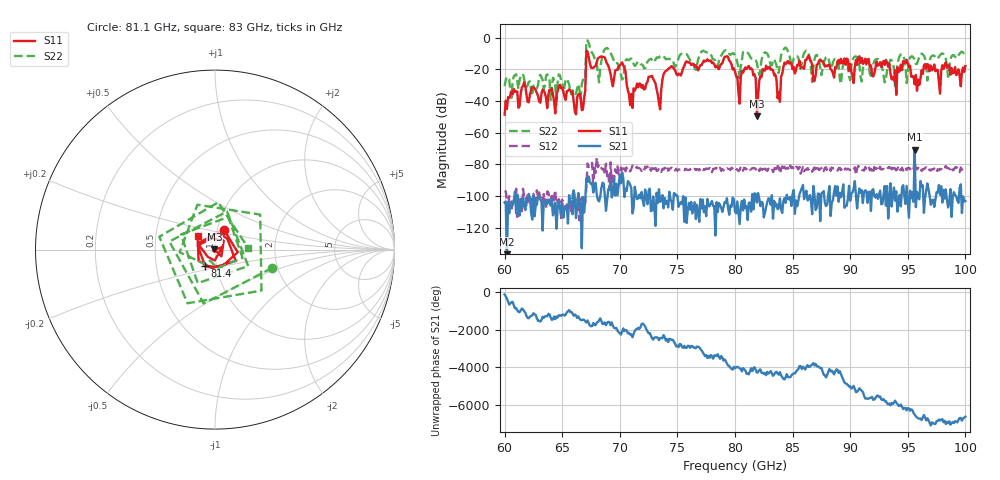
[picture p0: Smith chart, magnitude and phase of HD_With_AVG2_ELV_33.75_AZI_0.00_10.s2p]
! 11/25/2026 10:14:40 AM
! C:\ANRITSUVNA\TEMP\TEMP.S2P
! CHANNEL.1
! TR.MEASUREMENT
! RAW.DATA
# HZ S RI R 50.0
! FREQ.HZ  S11RE  S11IM  S21RE  S21IM  S12RE  S12IM  S22RE  S22IM
!; PortSelection: Port_12
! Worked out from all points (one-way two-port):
!   401 points, 60 GHz to 100 GHz, reference 50 ohm
!   highest |S21| = -70.80 dB at 95.6 GHz (marker M1); lowest = -140.0 dB at 60.2 GHz (marker M2)
!   lowest |S11| = -49.5 dB at 81.9 GHz (marker M3), VSWR 1.01, Z = 49.7 + j0.0608 ohm
!   |S11| at or under -10 dB: start of sweep to 67.09 GHz; 67.24 GHz to end of sweep
!   |S22| runs from -42.8 to -1.7 dB; largest |S21 - S12| = 0.00022
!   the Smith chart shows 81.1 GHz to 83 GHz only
!   S11 on the Smith chart (normalised r, x): 81.1 GHz: 1.08, +0.24; 81.4 GHz: 0.88, -0.17; 83 GHz: 0.82, +0.12
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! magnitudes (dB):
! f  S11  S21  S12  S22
! 60 GHz  -48.6  -104.1  -96.7  -30.5
! 60.2 GHz  -45.0  -140.0  -102.4  -24.7
! 66.7 GHz  -45.7  -133.0  -101.1  -29.5
! 67.3 GHz  -12.1  -87.7  -81.6  -3.2
! 68.4 GHz  -11.8  -95.0  -82.4  -14.7
! 68.9 GHz  -16.5  -102.2  -87.5  -6.5
! 70.3 GHz  -17.5  -88.6  -83.0  -25.5
! 70.9 GHz  -42.6  -92.8  -84.5  -13.5
! 72.7 GHz  -24.4  -109.6  -84.0  -13.3
! 73.4 GHz  -41.3  -95.7  -82.5  -12.6
! 74.4 GHz  -18.6  -102.0  -82.6  -13.4
! 80 GHz  -21.2  -109.8  -82.2  -11.1
! 81.1 GHz  -18.4  -115.2  -81.9  -9.5
! 81.4 GHz  -19.3  -109.9  -83.2  -13.0
! 81.9 GHz  -49.5  -104.1  -82.4  -15.9
! 83 GHz  -18.3  -101.8  -83.6  -14.6
! 83.8 GHz  -34.3  -107.4  -81.7  -22.3
! 84.4 GHz  -16.7  -104.3  -82.8  -6.2
! 86.7 GHz  -17.5  -111.5  -84.6  -28.0
! 93.4 GHz  -16.3  -102.3  -81.7  -15.6
! 95.6 GHz  -29.4  -70.8  -77.8  -13.7
! 100 GHz  -17.9  -103.2  -82.3  -12.1
